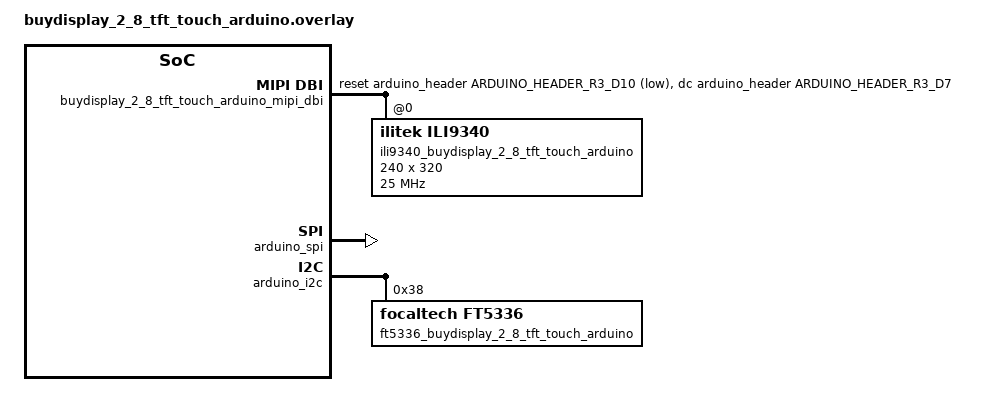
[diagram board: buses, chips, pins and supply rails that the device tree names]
/*
 * Copyright (c) 2020 Teslabs Engineering S.L.
 *
 * SPDX-License-Identifier: Apache-2.0
 */

#include <zephyr/dt-bindings/display/ili9xxx.h>
#include <zephyr/dt-bindings/gpio/arduino-header-r3.h>

/ {
	chosen {
		zephyr,display = &ili9340_buydisplay_2_8_tft_touch_arduino;
		zephyr,touch = &ft5336_buydisplay_2_8_tft_touch_arduino;
	};

	buydisplay_2_8_tft_touch_arduino_mipi_dbi {
		compatible = "zephyr,mipi-dbi-spi";
		dc-gpios = <&arduino_header ARDUINO_HEADER_R3_D7 GPIO_ACTIVE_HIGH>;
		reset-gpios = <&arduino_header ARDUINO_HEADER_R3_D10 GPIO_ACTIVE_LOW>;
		spi-dev = <&arduino_spi>;
		write-only;
		#address-cells = <1>;
		#size-cells = <0>;

		ili9340_buydisplay_2_8_tft_touch_arduino: ili9340@0 {
			compatible = "ilitek,ili9340";
			mipi-max-frequency = <25000000>;
			reg = <0>;
			width = <240>;
			height = <320>;
			pixel-format = <ILI9XXX_PIXEL_FORMAT_RGB565>;
			rotation = <0>;
			frmctr1 = [00 18];
			pwctrl1 = [23 00];
			vmctrl1 = [3e 28];
			vmctrl2 = [86];
			pgamctrl = [0f 31 2b 0c 0e 08 4e f1 37 07 10 03 0e 09 00];
			ngamctrl = [00 0e 14 03 11 07 31 c1 48 08 0f 0c 31 36 0f];
		};
	};
};

&arduino_spi {
	status = "okay";
	cs-gpios = <&arduino_header ARDUINO_HEADER_R3_D9 GPIO_ACTIVE_LOW>;
};

&arduino_i2c {
	ft5336_buydisplay_2_8_tft_touch_arduino: ft5336@38 {
		compatible = "focaltech,ft5336";
		reg = <0x38>;
		swapped-x-y;
		inverted-x;
		inverted-y;
		screen-width = <240>;
		screen-height = <320>;
		/* Uncomment if IRQ line is available (requires to solder jumper) */
		/* int-gpios = <&arduino_header ARDUINO_HEADER_R3_D5 GPIO_ACTIVE_LOW>; */
	};
};
